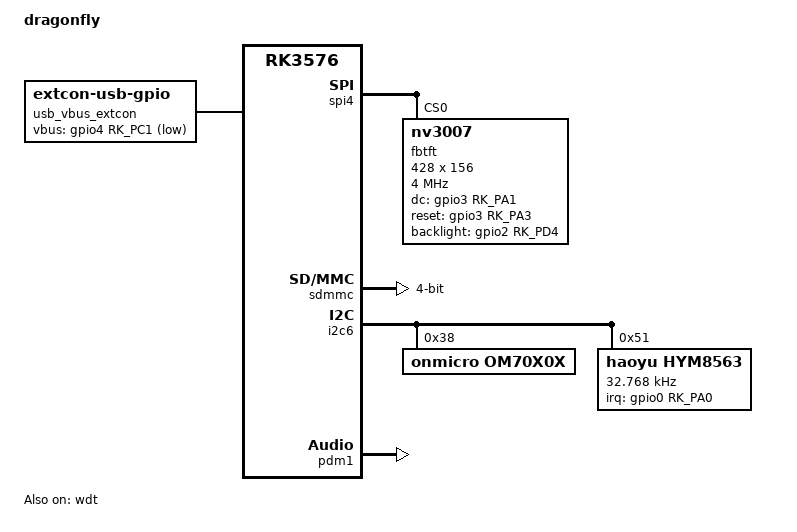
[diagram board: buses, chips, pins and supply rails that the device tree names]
/dts-v1/;

#include "dragonfly-core3576.dtsi"
#include "dragonfly-usb-c.dtsi"
#include "dragonfly-cam.dtsi"
#include "dragonfly-pcie.dtsi"
#include "dragonfly-wireless.dtsi"
#include "dragonfly-key.dtsi"
#include "dragonfly-motor.dtsi"
#include "rk3576-linux.dtsi"

/ {
	model = "dragonfly";
	compatible = "dragonfly,rk3576", "rockchip,rk3576";

    pdmics: dummy-codec {
        status = "okay";
        compatible = "rockchip,dummy-codec";
        #sound-dai-cells = <0>;
    };

    pdm_mic_array: pdm-mic-array {
        status = "okay";
        compatible = "simple-audio-card";
        simple-audio-card,name = "rockchip,pdm-mic-array";
        simple-audio-card,format = "pdm";
        simple-audio-card,cpu {
            sound-dai = <&pdm1>;
            dai-tdm-slot-num = <2>;
            dai-tdm-slot-width = <1>;
        };
        simple-audio-card,codec {
            sound-dai = <&pdmics>;
        };
    };

    usb_connector: usb-connector {
        compatible = "gpio-usb-b-connector", "usb-b-connector";
        label = "type-c-usb";
        pinctrl-names = "default";
        pinctrl-0 = <&usb_conn_det>;
        vbus-gpios = <&gpio4 RK_PC1 GPIO_ACTIVE_LOW>;
        status = "disabled";
    };
    
    usb_vbus_extcon: extcon-usb {
        compatible = "linux,extcon-usb-gpio";
        pinctrl-names = "default";
        pinctrl-0 = <&usb_conn_det>;
        vbus-gpios = <&gpio4 RK_PC1 GPIO_ACTIVE_LOW>;
    };
};

&spi4 {
    status = "okay";
    spi-max-frequency = <4000000>;
    pinctrl-names = "default";
    pinctrl-0 = <&spi4m3_pins &spi4m3_csn0>;

    fbtft@0{
        status = "okay";
        compatible = "nv3007";
        reg = <0>;
        spi-max-frequency = <4000000>;
        fps = <30>;
        width = <428>;
        height = <156>;
        buswidth = <8>;
        regwidth = <8>;
        bpp = <16>;
        debug = <0x4>;
        dc-gpios = <&gpio3 RK_PA1 GPIO_ACTIVE_HIGH>;
        reset-gpios = <&gpio3 RK_PA3 GPIO_ACTIVE_HIGH>;
        backlight-gpios = <&gpio2 RK_PD4 GPIO_ACTIVE_HIGH>;
    };
};

&sdmmc {
       max-frequency = <200000000>;
       no-sdio;
       no-mmc;
       bus-width = <4>;
       cap-mmc-highspeed;
       cap-sd-highspeed;
       disable-wp;
       sd-uhs-sdr104;
       vqmmc-supply = <&vccio_sd_s0>;
       status = "okay";
};

&pinctrl {
     rtc {
        rtc_int: rtc-int {
            rockchip,pins = <0 RK_PA0 RK_FUNC_GPIO &pcfg_pull_up>;
        };
    };

    usb_conn {
        usb_conn_det: usb_conn_det {
            rockchip,pins = <4 RK_PC1 RK_FUNC_GPIO &pcfg_pull_none>;
        };
    };

    uart9 {
        uart9_gpio: uart9-gpio {
            rockchip,pins = <2 RK_PC0 RK_FUNC_GPIO &pcfg_pull_down>,
                            <2 RK_PC1 RK_FUNC_GPIO &pcfg_pull_down>;
        };
    };
};

&i2c6 {
    status = "okay";
    pinctrl-0 = <&i2c6m3_xfer>;

    om70x0x: om70X0X@38 {
        compatible = "onmicro,om70X0X";
        reg = <0x38>;
        status = "okay";
    };


    hym8563: hym8563@51 {
        compatible = "haoyu,hym8563";
        reg = <0x51>;
        #clock-cells = <0>;
        clock-frequency = <32768>;
        clock-output-names = "hym8563";
        pinctrl-names = "default";
        pinctrl-0 = <&rtc_int>;

        interrupt-parent = <&gpio0>;
        interrupts = <RK_PA0 IRQ_TYPE_LEVEL_LOW>;
        wakeup-source;
        status = "okay";
    };
};

&pdm1 {
    status = "okay";
    rockchip,always-on;
    pinctrl-names = "default";
    rockchip,path-map = <1 1 1 1>;
    pinctrl-0 = <&pdm1m1_sdi1 &pdm1m1_clk0>;
};

&wdt {
    status = "okay";
};
